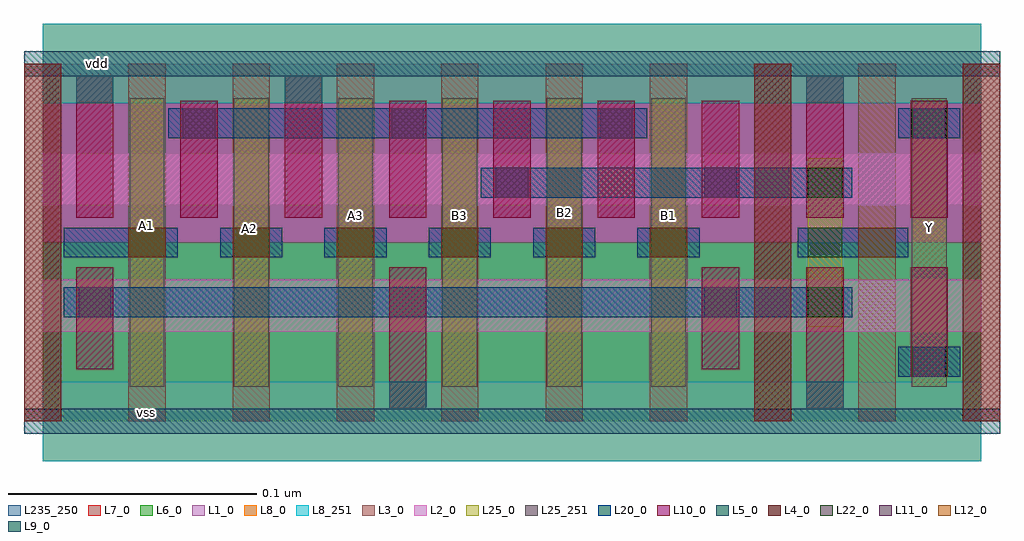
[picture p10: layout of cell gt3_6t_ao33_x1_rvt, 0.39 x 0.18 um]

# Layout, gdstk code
import gdstk
lib = gdstk.Library(unit=1e-6, precision=5e-10)
def R(c, l, rs):  # rectangles x0, y0, x1, y1
    for r in rs: c.add(gdstk.rectangle(r[:2], r[2:], *l))
def A(c, l, x, y, w, h, nx, ny, dx, dy):  # array of equal rectangles
    R(c, l, [(x+i*dx, y+j*dy, x+i*dx+w, y+j*dy+h) for i in range(nx) for j in range(ny)])
L1_0 = (1, 0)
L2_0 = (2, 0)
L3_0 = (3, 0)
L4_0 = (4, 0)
L5_0 = (5, 0)
L6_0 = (6, 0)
L7_0 = (7, 0)
L8_0 = (8, 0)
L8_251 = (8, 251)
L9_0 = (9, 0)
L10_0 = (10, 0)
L11_0 = (11, 0)
L12_0 = (12, 0)
L20_0 = (20, 0)
L22_0 = (22, 0)
L25_0 = (25, 0)
L25_251 = (25, 251)
L235_250 = (235, 250)

gt3_6t_ao33_x1_rvt = lib.new_cell('gt3_6t_ao33_x1_rvt')
R(gt3_6t_ao33_x1_rvt, L1_0, [(0,0.072,0.378,0.144)])
R(gt3_6t_ao33_x1_rvt, L2_0, [(0,0.036,0.378,0.057), (0,0.087,0.378,0.108)])
A(gt3_6t_ao33_x1_rvt, L3_0, -0.0075, 0, 0.015, 0.144, 10, 1, 0.042, 0)
R(gt3_6t_ao33_x1_rvt, L4_0, [(-0.0075,0,0.0075,0.144), (0.2865,0,0.3015,0.144), (0.3705,0,0.3855,0.144)])
R(gt3_6t_ao33_x1_rvt, L5_0, [(-0.0075,-0.005,0.3855,0.005), (-0.0075,0.139,0.3855,0.149)])
R(gt3_6t_ao33_x1_rvt, L6_0, [(0,0,0.378,0.072)])
R(gt3_6t_ao33_x1_rvt, L7_0, [(0,0.072,0.378,0.144)])
R(gt3_6t_ao33_x1_rvt, L8_0, [(0,-0.016,0.378,0.016), (0,0.128,0.378,0.16)])
R(gt3_6t_ao33_x1_rvt, L8_251, [(0,-0.016,0.378,0.016), (0,0.128,0.378,0.16)])
R(gt3_6t_ao33_x1_rvt, L9_0, [(0.1395,0.005,0.1545,0.016), (0.3075,0.005,0.3225,0.016), (0.0135,0.128,0.0285,0.139), (0.0975,0.128,0.1125,0.139), (0.3075,0.128,0.3225,0.139)])
A(gt3_6t_ao33_x1_rvt, L10_0, 0.1395, 0.082, 0.015, 0.047, 4, 1, 0.042, 0)
R(gt3_6t_ao33_x1_rvt, L10_0, [(0.1395,0.005,0.1545,0.062), (0.3075,0.005,0.3225,0.062), (0.3495,0.018,0.3645,0.062), (0.0135,0.021,0.0285,0.062), (0.2655,0.021,0.2805,0.062), (0.0135,0.082,0.0285,0.139), (0.0555,0.082,0.0705,0.129), (0.0975,0.082,0.1125,0.139), (0.3075,0.082,0.3225,0.139), (0.3495,0.082,0.3645,0.129)])
A(gt3_6t_ao33_x1_rvt, L11_0, 0.0565, 0.114, 0.013, 0.012, 3, 1, 0.084, 0)
R(gt3_6t_ao33_x1_rvt, L11_0, [(0.3505,0.018,0.3635,0.03), (0.0145,0.042,0.0275,0.054), (0.2665,0.042,0.2795,0.054), (0.1825,0.09,0.1955,0.102), (0.2665,0.09,0.2795,0.102), (0.3505,0.114,0.3635,0.126)])
A(gt3_6t_ao33_x1_rvt, L12_0, 0.0345, 0.066, 0.015, 0.012, 6, 1, 0.042, 0)
R(gt3_6t_ao33_x1_rvt, L12_0, [(0.3285,0.066,0.3435,0.078)])
A(gt3_6t_ao33_x1_rvt, L20_0, 0.0715, 0.066, 0.025, 0.012, 5, 1, 0.042, 0)
R(gt3_6t_ao33_x1_rvt, L20_0, [(0.3445,0.018,0.3695,0.03), (0.0085,0.042,0.326,0.054), (0.0085,0.066,0.0545,0.078), (0.304,0.066,0.3485,0.078), (0.1765,0.09,0.326,0.102), (0.0505,0.114,0.2435,0.126), (0.3445,0.114,0.3695,0.126)])
A(gt3_6t_ao33_x1_rvt, L22_0, 0.308, 0.042, 0.014, 0.012, 1, 3, 0, 0.024)
A(gt3_6t_ao33_x1_rvt, L22_0, 0.035, 0.066, 0.014, 0.012, 6, 1, 0.042, 0)
R(gt3_6t_ao33_x1_rvt, L22_0, [(0.35,0.018,0.364,0.03), (0.35,0.114,0.364,0.126)])
A(gt3_6t_ao33_x1_rvt, L25_0, 0.035, 0.014, 0.014, 0.116, 6, 1, 0.042, 0)
R(gt3_6t_ao33_x1_rvt, L25_0, [(0.35,0.014,0.364,0.13), (0.308,0.038,0.322,0.106)])
A(gt3_6t_ao33_x1_rvt, L25_251, 0.035, 0.014, 0.014, 0.116, 6, 1, 0.042, 0)
R(gt3_6t_ao33_x1_rvt, L25_251, [(0.35,0.014,0.364,0.13)])
R(gt3_6t_ao33_x1_rvt, L235_250, [(0,0,0.378,0.144)])
gt3_6t_ao33_x1_rvt.add(gdstk.Label('vss', (0.042,0.0035), layer=8, texttype=251))
gt3_6t_ao33_x1_rvt.add(gdstk.Label('vdd', (0.022,0.144), layer=8, texttype=251))
gt3_6t_ao33_x1_rvt.add(gdstk.Label('B3', (0.168,0.083), layer=25, texttype=251))
gt3_6t_ao33_x1_rvt.add(gdstk.Label('B1', (0.252,0.083), layer=25, texttype=251))
gt3_6t_ao33_x1_rvt.add(gdstk.Label('A3', (0.126,0.083), layer=25, texttype=251))
gt3_6t_ao33_x1_rvt.add(gdstk.Label('A1', (0.042,0.079), layer=25, texttype=251))
gt3_6t_ao33_x1_rvt.add(gdstk.Label('A2', (0.0835,0.0775), layer=25, texttype=251))
gt3_6t_ao33_x1_rvt.add(gdstk.Label('B2', (0.21,0.084), layer=25, texttype=251))
gt3_6t_ao33_x1_rvt.add(gdstk.Label('Y', (0.357,0.078), layer=25, texttype=251))

lib.write_gds('gt3_6t_ao33_x1_rvt.gds')
